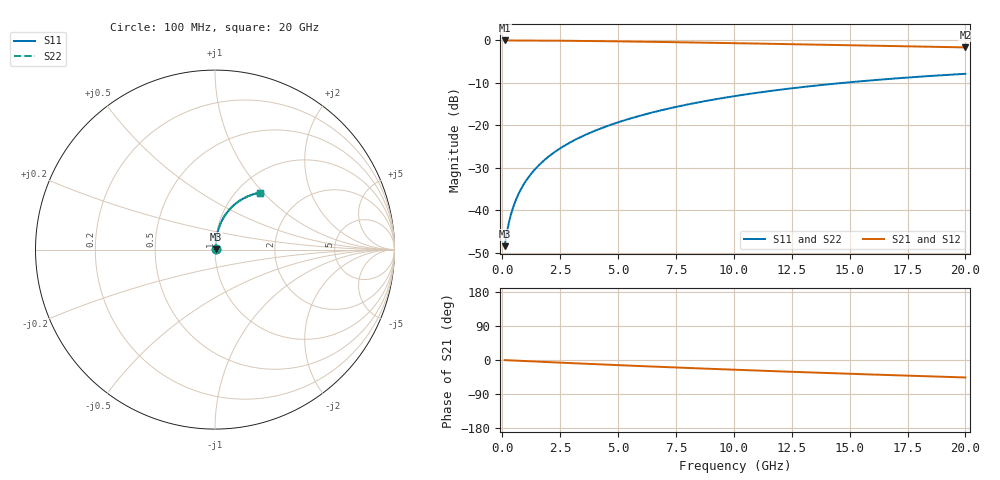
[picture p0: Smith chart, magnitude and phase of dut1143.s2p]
! Touchstone file exported from HFSS 2024.1.0
!  File:  C:/UserFiles/LocalFiles/RDL_TSV_Batchsim/temp_RDL_bottom_1143_1780055752.aedt
!  Generated:  07:57:57 PM May 29, 2026
!  Design:  RDL_bottom
!  Project:  temp_RDL_bottom_1143_1780055752
!  Setup:  Setup1
!  Solution:  Sweep
! Variables:
!  dtsv = 10.80580581um
!  hbump = 3um
!  htsv = 77.17um
!  ldown = 664.95um
!  lrdl = 100um
!  p = 40
!  p1 = 49.17um
!  rhole = 1um
!  t = 450um
!  tdown = 4.12um
!  trdl = 3.915915916um
!  wdown = 20.29um
!  wrdl = 20um
# GHz S MA R 50.000000
! Terminal data exported
! Port[1] = RDL1_T1
! Port[2] = RDL1_T2
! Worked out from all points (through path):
!   200 points, 100 MHz to 20 GHz, reference 50 ohm
!   highest |S21| = -0.03 dB at 100 MHz (marker M1); lowest = -1.7 dB at 20 GHz (marker M2)
!   group delay of S21, straight-line fit = 6.36 ps
!   lowest |S11| = -48.4 dB at 100 MHz (marker M3), VSWR 1.01, Z = 50.3 + j0.234 ohm
!   |S11| at or under -10 dB: start of sweep to 14.73 GHz
!   |S22| runs from -48.4 to -7.9 dB; largest |S21 - S12| = 5.2e-15
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0.1  0.003781 38.0  0.997 -0.3  0.997 -0.3  0.003781 38.0
! Gamma 0 0 0 0
! Port Impedance 50 0 50 0
0.2  0.005539 55.5  0.9968 -0.6  0.9968 -0.6  0.005539 55.5
0.3  0.007484 63.8  0.9966 -0.9  0.9966 -0.9  0.007484 63.8
0.4  0.009468 68.7  0.9965 -1.1  0.9965 -1.1  0.009469 68.7
0.5  0.01147 71.9  0.9963 -1.4  0.9963 -1.4  0.01147 71.9
0.6  0.0135 74.2  0.9961 -1.7  0.9961 -1.7  0.0135 74.2
0.8  0.0176 77.3  0.9957 -2.3  0.9957 -2.3  0.0176 77.3
1.1  0.02383 79.9  0.9951 -3.1  0.9951 -3.1  0.02383 79.9
1.5  0.03224 81.6  0.994 -4.2  0.994 -4.2  0.03224 81.6
1.8  0.0386 82.2  0.9929 -5.0  0.9929 -5.0  0.0386 82.2
2.1  0.045 82.6  0.9917 -5.9  0.9917 -5.9  0.04499 82.6
2.7  0.05789 82.8  0.9888 -7.5  0.9888 -7.5  0.05788 82.7
3.5  0.07527 82.4  0.9841 -9.7  0.9841 -9.7  0.07527 82.4
4.2  0.09066 81.8  0.9793 -11.5  0.9793 -11.5  0.09065 81.7
5  0.1084 80.8  0.9732 -13.6  0.9732 -13.6  0.1084 80.8
6.8  0.1488 78.0  0.9577 -18.1  0.9577 -18.1  0.1488 77.9
8.4  0.1848 75.0  0.9426 -21.9  0.9426 -21.9  0.1847 75.0
10.1  0.2222 71.6  0.9258 -25.8  0.9258 -25.8  0.2221 71.6
11.7  0.2562 68.3  0.9096 -29.4  0.9096 -29.4  0.2561 68.3
13.4  0.2907 64.8  0.8923 -33.0  0.8923 -33.0  0.2905 64.8
16.7  0.3515 58.1  0.8587 -39.8  0.8587 -39.8  0.3513 58.0
20  0.4038 51.7  0.8259 -46.1  0.8259 -46.1  0.4036 51.7
